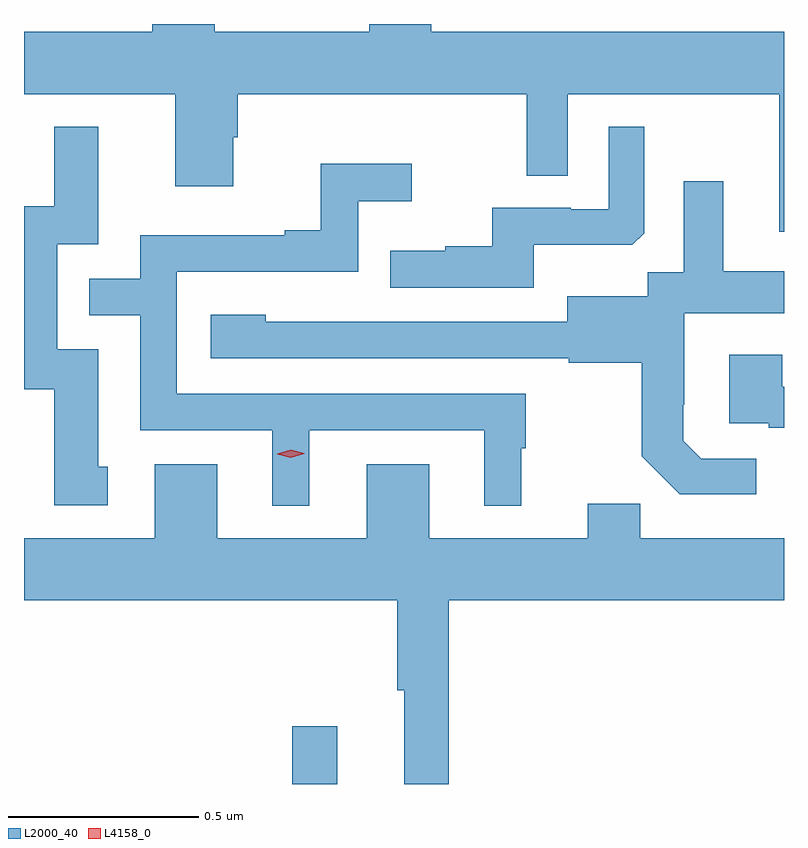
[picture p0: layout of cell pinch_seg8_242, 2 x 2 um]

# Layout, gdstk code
import gdstk
lib = gdstk.Library(unit=1e-6, precision=1e-09)
def R(c, l, rs):  # rectangles x0, y0, x1, y1
    for r in rs: c.add(gdstk.rectangle(r[:2], r[2:], *l))
def P(c, l, *ps):  # polygons
    for p in ps: c.add(gdstk.Polygon(p, *l))
L2000_40 = (2000, 40)
L4158_0 = (4158, 0)

pinch_seg8_242 = lib.new_cell('pinch_seg8_242')
R(pinch_seg8_242, L2000_40, [(686.089,1108.025,686.207,1108.177)])
P(pinch_seg8_242, L2000_40, [(687.383,1110.004),(686.455,1110.004),(686.455,1110.025),(686.291,1110.025),(686.291,1110.004),(685.885,1110.004),(685.885,1110.025),(685.721,1110.025),(685.721,1110.004),(685.383,1110.004),(685.383,1109.84),(685.781,1109.84),(685.781,1109.598),(685.933,1109.598),(685.933,1109.727),(685.946,1109.727),(685.946,1109.84),(686.706,1109.84),(686.706,1109.626),(686.814,1109.626),(686.814,1109.84),(687.371,1109.84),(687.371,1109.478),(687.383,1109.478)],
  [(686.725,1109.444),(686.983,1109.444),(687.015,1109.475),(687.015,1109.755),(686.922,1109.755),(686.922,1109.538),(686.822,1109.538),(686.822,1109.541),(686.615,1109.541),(686.615,1109.44),(686.491,1109.44),(686.491,1109.428),(686.347,1109.428),(686.347,1109.331),(686.725,1109.331)],
  [(685.603,1108.86),(685.579,1108.86),(685.579,1109.169),(685.47,1109.169),(685.47,1109.445),(685.579,1109.445),(685.579,1109.755),(685.463,1109.755),(685.463,1109.546),(685.383,1109.546),(685.383,1109.064),(685.463,1109.064),(685.463,1108.758),(685.603,1108.758)],
  [(686.134,1108.956),(686.594,1108.956),(686.594,1108.757),(686.692,1108.757),(686.692,1108.908),(686.704,1108.908),(686.704,1109.052),(685.785,1109.052),(685.785,1109.373),(686.262,1109.373),(686.262,1109.558),(686.404,1109.558),(686.404,1109.657),(686.164,1109.657),(686.164,1109.482),(686.069,1109.482),(686.069,1109.469),(685.689,1109.469),(685.689,1109.355),(685.555,1109.355),(685.555,1109.259),(685.689,1109.259),(685.689,1108.956),(686.036,1108.956),(686.036,1108.757),(686.134,1108.757)],
  [(687.31,1108.881),(687.165,1108.881),(687.118,1108.928),(687.118,1109.023),(687.12,1109.023),(687.12,1109.264),(687.383,1109.264),(687.383,1109.374),(687.223,1109.374),(687.223,1109.611),(687.119,1109.611),(687.119,1109.372),(687.024,1109.372),(687.024,1109.308),(686.813,1109.308),(686.813,1109.241),(686.255,1109.241),(686.255,1109.242),(686.019,1109.242),(686.019,1109.26),(685.875,1109.26),(685.875,1109.145),(686.817,1109.145),(686.817,1109.133),(687.009,1109.133),(687.009,1108.887),(687.109,1108.787),(687.31,1108.787)],
  [(687.383,1109.07),(687.379,1109.07),(687.379,1109.155),(687.239,1109.155),(687.239,1108.974),(687.343,1108.974),(687.343,1108.962),(687.383,1108.962)],
  [(686.501,1108.508),(687.383,1108.508),(687.383,1108.672),(687.005,1108.672),(687.005,1108.763),(686.867,1108.763),(686.867,1108.672),(686.449,1108.672),(686.449,1108.867),(686.285,1108.867),(686.285,1108.672),(685.891,1108.672),(685.891,1108.867),(685.727,1108.867),(685.727,1108.672),(685.383,1108.672),(685.383,1108.508),(686.365,1108.508),(686.365,1108.272),(686.384,1108.272),(686.384,1108.025),(686.501,1108.025)])
P(pinch_seg8_242, L4158_0, [(686.085,1108.884),(686.049,1108.893),(686.049,1108.893),(686.049,1108.894),(686.085,1108.904),(686.121,1108.895),(686.121,1108.895),(686.121,1108.894)])

lib.write_gds('pinch_seg8_242.gds')
